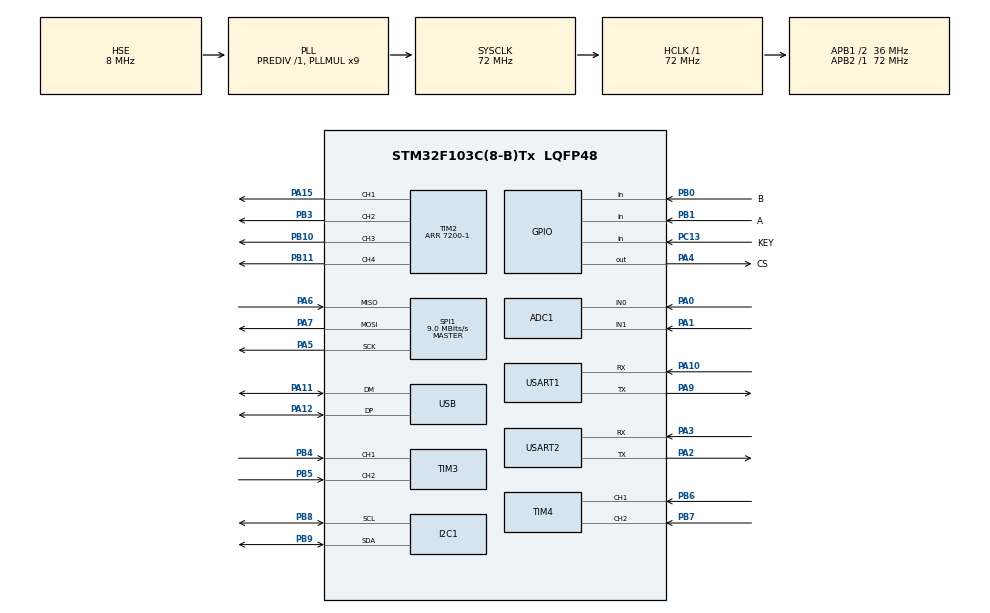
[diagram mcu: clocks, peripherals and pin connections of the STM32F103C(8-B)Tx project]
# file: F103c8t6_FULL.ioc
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ADC1.Channel-0\#ChannelRegularConversion=ADC_CHANNEL_0
ADC1.NbrOfConversionFlag=1
ADC1.Rank-0\#ChannelRegularConversion=1
ADC1.SamplingTime-0\#ChannelRegularConversion=ADC_SAMPLETIME_1CYCLE_5
ADC1.master=1
Dma.Request0=USART1_RX
Dma.Request1=USART1_TX
Dma.USART1_RX.0.Direction=DMA_PERIPH_TO_MEMORY
Dma.USART1_RX.0.Instance=DMA1_Channel5
Dma.USART1_RX.0.MemDataAlignment=DMA_MDATAALIGN_BYTE
Dma.USART1_RX.0.MemInc=DMA_MINC_ENABLE
Dma.USART1_RX.0.Mode=DMA_NORMAL
Dma.USART1_RX.0.PeriphDataAlignment=DMA_PDATAALIGN_BYTE
Dma.USART1_RX.0.PeriphInc=DMA_PINC_DISABLE
Dma.USART1_RX.0.Priority=DMA_PRIORITY_LOW
Dma.USART1_TX.1.Direction=DMA_MEMORY_TO_PERIPH
Dma.USART1_TX.1.Instance=DMA1_Channel4
Dma.USART1_TX.1.MemDataAlignment=DMA_MDATAALIGN_BYTE
Dma.USART1_TX.1.MemInc=DMA_MINC_ENABLE
Dma.USART1_TX.1.Mode=DMA_NORMAL
Dma.USART1_TX.1.PeriphDataAlignment=DMA_PDATAALIGN_BYTE
Dma.USART1_TX.1.PeriphInc=DMA_PINC_DISABLE
Dma.USART1_TX.1.Priority=DMA_PRIORITY_LOW
FREERTOS.Tasks01=ControlTask,48,1024,ControlTaskStart,Default,NULL,Dynamic,NULL,NULL;UITask,8,128,UITaskStart,Default,NULL,Dynamic,NULL,NULL
FREERTOS.configTOTAL_HEAP_SIZE=2048
Mcu.Family=STM32F1
Mcu.Name=STM32F103C(8-B)Tx
Mcu.Package=LQFP48
NVIC.DMA1_Channel4_IRQn=true\:5\:0\:false\:false\:true\:true\:false\:true\:true
NVIC.DMA1_Channel5_IRQn=true\:5\:0\:false\:false\:true\:true\:false\:true\:true
NVIC.PriorityGroup=NVIC_PRIORITYGROUP_4
NVIC.TIM1_UP_IRQn=true\:15\:0\:false\:false\:true\:false\:false\:true\:true
NVIC.TIM2_IRQn=true\:5\:0\:false\:false\:true\:true\:true\:true\:true
NVIC.TimeBase=TIM1_UP_IRQn
NVIC.TimeBaseIP=TIM1
NVIC.USART1_IRQn=true\:5\:0\:false\:false\:true\:true\:true\:true\:true
PA0-WKUP.Signal=ADCx_IN0
PA1.Signal=ADCx_IN1
PA10.Mode=Asynchronous
PA10.Signal=USART1_RX
PA11.Mode=Device
PA11.Signal=USB_DM
PA12.Mode=Device
PA12.Signal=USB_DP
PA13.Mode=Serial_Wire
PA13.Signal=SYS_JTMS-SWDIO
PA14.Mode=Serial_Wire
PA14.Signal=SYS_JTCK-SWCLK
PA15.Signal=S_TIM2_CH1_ETR
PA2.Mode=Asynchronous
PA2.Signal=USART2_TX
PA3.Mode=Asynchronous
PA3.Signal=USART2_RX
PA4.GPIO_Label=CS
PA4.Signal=GPIO_Output
PA5.Mode=Full_Duplex_Master
PA5.Signal=SPI1_SCK
PA6.Mode=Full_Duplex_Master
PA6.Signal=SPI1_MISO
PA7.Mode=Full_Duplex_Master
PA7.Signal=SPI1_MOSI
PA9.Mode=Asynchronous
PA9.Signal=USART1_TX
PB0.GPIO_Label=B
PB0.GPIO_PuPd=GPIO_PULLUP
PB0.Signal=GPIO_Input
PB1.GPIO_Label=A
PB1.GPIO_PuPd=GPIO_PULLUP
PB1.Signal=GPIO_Input
PB10.Signal=S_TIM2_CH3
PB11.Signal=S_TIM2_CH4
PB3.Signal=S_TIM2_CH2
PB4.Signal=S_TIM3_CH1
PB5.Signal=S_TIM3_CH2
PB6.Signal=S_TIM4_CH1
PB7.Signal=S_TIM4_CH2
PB8.Mode=I2C
PB8.Signal=I2C1_SCL
PB9.Mode=I2C
PB9.Signal=I2C1_SDA
PC13-TAMPER-RTC.GPIO_Label=KEY
PC13-TAMPER-RTC.GPIO_PuPd=GPIO_PULLUP
PC13-TAMPER-RTC.Signal=GPIO_Input
PC14-OSC32_IN.Mode=LSE-External-Oscillator
PC14-OSC32_IN.Signal=RCC_OSC32_IN
PC15-OSC32_OUT.Mode=LSE-External-Oscillator
PC15-OSC32_OUT.Signal=RCC_OSC32_OUT
PD0-OSC_IN.Mode=HSE-External-Oscillator
PD0-OSC_IN.Signal=RCC_OSC_IN
PD1-OSC_OUT.Mode=HSE-External-Oscillator
PD1-OSC_OUT.Signal=RCC_OSC_OUT
ProjectManager.HeapSize=0x200
ProjectManager.StackSize=0x400
ProjectManager.TargetToolchain=CMake
RCC.ADCPresc=RCC_ADCPCLK2_DIV6
RCC.AHBFreq_Value=72000000
RCC.APB1CLKDivider=RCC_HCLK_DIV2
RCC.APB1Freq_Value=36000000
RCC.APB1TimFreq_Value=72000000
RCC.APB2Freq_Value=72000000
RCC.APB2TimFreq_Value=72000000
RCC.HCLKFreq_Value=72000000
RCC.PLLMUL=RCC_PLL_MUL9
RCC.PLLSourceVirtual=RCC_PLLSOURCE_HSE
RCC.RTCClockSelection=RCC_RTCCLKSOURCE_LSE
RCC.SYSCLKFreq_VALUE=72000000
RCC.SYSCLKSource=RCC_SYSCLKSOURCE_PLLCLK
RCC.USBFreq_Value=48000000
RCC.USBPrescaler=RCC_USBCLKSOURCE_PLL_DIV1_5
SH.ADCx_IN0.0=ADC1_IN0,IN0
SH.ADCx_IN1.0=ADC1_IN1,IN1
SH.S_TIM2_CH1_ETR.0=TIM2_CH1,PWM Generation1 CH1
SH.S_TIM2_CH2.0=TIM2_CH2,PWM Generation2 CH2
SH.S_TIM2_CH3.0=TIM2_CH3,PWM Generation3 CH3
SH.S_TIM2_CH4.0=TIM2_CH4,PWM Generation4 CH4
SH.S_TIM3_CH1.0=TIM3_CH1,Encoder_Interface
SH.S_TIM3_CH2.0=TIM3_CH2,Encoder_Interface
SH.S_TIM4_CH1.0=TIM4_CH1,Encoder_Interface
SH.S_TIM4_CH2.0=TIM4_CH2,Encoder_Interface
SPI1.BaudRatePrescaler=SPI_BAUDRATEPRESCALER_8
SPI1.CalculateBaudRate=9.0 MBits/s
SPI1.Direction=SPI_DIRECTION_2LINES
SPI1.Mode=SPI_MODE_MASTER
SPI1.VirtualType=VM_MASTER
TIM2.AutoReloadPreload=TIM_AUTORELOAD_PRELOAD_ENABLE
TIM2.Channel-PWM\ Generation1\ CH1=TIM_CHANNEL_1
TIM2.Channel-PWM\ Generation2\ CH2=TIM_CHANNEL_2
TIM2.Channel-PWM\ Generation3\ CH3=TIM_CHANNEL_3
TIM2.Channel-PWM\ Generation4\ CH4=TIM_CHANNEL_4
TIM2.Period=7200-1
USART1.VirtualMode=VM_ASYNC
USART2.VirtualMode=VM_ASYNC
VP_FREERTOS_VS_CMSIS_V2.Mode=CMSIS_V2
VP_RTC_No_RTC_Output.Mode=RTC_OUT_NO
VP_RTC_VS_RTC_Activate.Mode=RTC_Enabled
VP_SYS_VS_tim1.Mode=TIM1
VP_TIM2_VS_ClockSourceINT.Mode=Internal
board=custom

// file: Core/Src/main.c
/* USER CODE BEGIN Header */
/**
  ******************************************************************************
  * @file           : main.c
  * @brief          : Main program body
  ******************************************************************************
  * @attention
  *
  * Copyright (c) 2026 STMicroelectronics.
  * All rights reserved.
  *
  * This software is licensed under terms that can be found in the LICENSE file
  * in the root directory of this software component.
  * If no LICENSE file comes with this software, it is provided AS-IS.
  *
  ******************************************************************************
  */
/* USER CODE END Header */
#include "main.h"
#include "cmsis_os.h"
#include "adc.h"
#include "dma.h"
#include "i2c.h"
#include "rtc.h"
#include "spi.h"
#include "tim.h"
#include "usart.h"
#include "usb.h"
#include "gpio.h"

/* USER CODE BEGIN Includes */

#include "balance_control.h"
#include "ICM42688.h"
#include "encoder.h"
#include "DRV4950.h"
#include "MahonyAHRS.h"

/* USER CODE END Includes */

/* USER CODE BEGIN PV */

imu_t imu ;
MahonyAHRS_t mahony ;
Encoder_t encoder ;
Motor_t motorL , motorR ;
Balance_t balance ;

/* USER CODE END PV */

void SystemClock_Config(void);
void MX_FREERTOS_Init(void);

int main(void)
{

  /* MCU Configuration--------------------------------------------------------*/

  /* Reset of all peripherals, Initializes the Flash interface and the Systick. */
  HAL_Init();

  /* Configure the system clock */
  SystemClock_Config();

  /* Initialize all configured peripherals */
  MX_GPIO_Init();
  MX_DMA_Init();
  MX_ADC1_Init();
  MX_I2C1_Init();
  MX_RTC_Init();
  MX_SPI1_Init();
  MX_TIM2_Init();
  MX_TIM3_Init();
  MX_TIM4_Init();
  MX_USART1_UART_Init();
  MX_USART2_UART_Init();
  MX_USB_PCD_Init();
  /* USER CODE BEGIN 2 */

    imu.hspi = &hspi1;
    imu.cs_port = GPIOA ;
    imu.cs_pin = GPIO_PIN_4;
    if (ICM42688_Init(&imu , 8 , 500) != HAL_OK) Error_Handler() ;

    MahonyAHRS_Init(&mahony, 2.0f, 0.05f);

    Encoder_Init(&encoder , &htim3 , &htim4) ;

    Motor_Init(&motorL ,  &htim2 , TIM_CHANNEL_1 , TIM_CHANNEL_2 , Motor_Normal) ;
    Motor_Init(&motorR ,  &htim2 , TIM_CHANNEL_4 , TIM_CHANNEL_3 , Motor_Normal);

    BalanceParam_t param = {
        .stand_kp = 0.0f, .stand_kd = 0.0f,
        .speed_kp = 0.0f, .speed_ki = 0.0f,
        .turn_kp  = 0.0f, .turn_kd  = 0.0f,
    };
    Balance_Init(&balance , &param);

  /* USER CODE END 2 */

  /* Init scheduler */
  osKernelInitialize();  /* Call init function for freertos objects (in cmsis_os2.c) */
  MX_FREERTOS_Init();

  /* Start scheduler */
  osKernelStart();

  /* We should never get here as control is now taken by the scheduler */

  /* Infinite loop */
  while (1)
  {

  }
}

void SystemClock_Config(void)
{
  RCC_OscInitTypeDef RCC_OscInitStruct = {0};
  RCC_ClkInitTypeDef RCC_ClkInitStruct = {0};
  RCC_PeriphCLKInitTypeDef PeriphClkInit = {0};

  /** Initializes the RCC Oscillators according to the specified parameters
  * in the RCC_OscInitTypeDef structure.
  */
  RCC_OscInitStruct.OscillatorType = RCC_OSCILLATORTYPE_HSE|RCC_OSCILLATORTYPE_LSE;
  RCC_OscInitStruct.HSEState = RCC_HSE_ON;
  RCC_OscInitStruct.HSEPredivValue = RCC_HSE_PREDIV_DIV1;
  RCC_OscInitStruct.LSEState = RCC_LSE_ON;
  RCC_OscInitStruct.HSIState = RCC_HSI_ON;
  RCC_OscInitStruct.PLL.PLLState = RCC_PLL_ON;
  RCC_OscInitStruct.PLL.PLLSource = RCC_PLLSOURCE_HSE;
  RCC_OscInitStruct.PLL.PLLMUL = RCC_PLL_MUL9;
  if (HAL_RCC_OscConfig(&RCC_OscInitStruct) != HAL_OK)
  {
    Error_Handler();
  }

  /** Initializes the CPU, AHB and APB buses clocks
  */
  RCC_ClkInitStruct.ClockType = RCC_CLOCKTYPE_HCLK|RCC_CLOCKTYPE_SYSCLK
                              |RCC_CLOCKTYPE_PCLK1|RCC_CLOCKTYPE_PCLK2;
  RCC_ClkInitStruct.SYSCLKSource = RCC_SYSCLKSOURCE_PLLCLK;
  RCC_ClkInitStruct.AHBCLKDivider = RCC_SYSCLK_DIV1;
  RCC_ClkInitStruct.APB1CLKDivider = RCC_HCLK_DIV2;
  RCC_ClkInitStruct.APB2CLKDivider = RCC_HCLK_DIV1;

  if (HAL_RCC_ClockConfig(&RCC_ClkInitStruct, FLASH_LATENCY_2) != HAL_OK)
  {
    Error_Handler();
  }
  PeriphClkInit.PeriphClockSelection = RCC_PERIPHCLK_RTC|RCC_PERIPHCLK_ADC
                              |RCC_PERIPHCLK_USB;
  PeriphClkInit.RTCClockSelection = RCC_RTCCLKSOURCE_LSE;
  PeriphClkInit.AdcClockSelection = RCC_ADCPCLK2_DIV6;
  PeriphClkInit.UsbClockSelection = RCC_USBCLKSOURCE_PLL_DIV1_5;
  if (HAL_RCCEx_PeriphCLKConfig(&PeriphClkInit) != HAL_OK)
  {
    Error_Handler();
  }
}

void HAL_TIM_PeriodElapsedCallback(TIM_HandleTypeDef *htim)
{
  if (htim->Instance == TIM1)
  {
    HAL_IncTick();
  }
}

void Error_Handler(void)
{
  __disable_irq();
  while (1)
  {
  }
}

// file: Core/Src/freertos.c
/* USER CODE BEGIN Header */
/**
  ******************************************************************************
  * File Name          : freertos.c
  * Description        : Code for freertos applications
  ******************************************************************************
  * @attention
  *
  * Copyright (c) 2026 STMicroelectronics.
  * All rights reserved.
  *
  * This software is licensed under terms that can be found in the LICENSE file
  * in the root directory of this software component.
  * If no LICENSE file comes with this software, it is provided AS-IS.
  *
  ******************************************************************************
  */
/* USER CODE END Header */

#include "FreeRTOS.h"
#include "task.h"
#include "main.h"
#include "cmsis_os.h"

/* USER CODE BEGIN Includes */

#include "balance_control.h"
#include "encoder.h"
#include "DRV4950.h"
#include "ICM42688.h"
#include "MahonyAHRS.h"

/* USER CODE END Includes */

/* USER CODE BEGIN Variables */

extern imu_t imu ;
extern MahonyAHRS_t mahony ;
extern Encoder_t encoder ;
extern Motor_t motorL , motorR ;
extern Balance_t balance ;

/* USER CODE END Variables */
/* Definitions for ControlTask */
osThreadId_t ControlTaskHandle;
const osThreadAttr_t ControlTask_attributes = {
  .name = "ControlTask",
  .stack_size = 1024 * 4,
  .priority = (osPriority_t) osPriorityRealtime,
};
/* Definitions for UITask */
osThreadId_t UITaskHandle;
const osThreadAttr_t UITask_attributes = {
  .name = "UITask",
  .stack_size = 128 * 4,
  .priority = (osPriority_t) osPriorityLow,
};

void ControlTaskStart(void *argument);
void UITaskStart(void *argument);

void MX_FREERTOS_Init(void); /* (MISRA C 2004 rule 8.1) */

void MX_FREERTOS_Init(void) {

  /* Create the thread(s) */
  /* creation of ControlTask */
  ControlTaskHandle = osThreadNew(ControlTaskStart, NULL, &ControlTask_attributes);

  /* creation of UITask */
  UITaskHandle = osThreadNew(UITaskStart, NULL, &UITask_attributes);

}

void ControlTaskStart(void *argument)
{
  /* USER CODE BEGIN ControlTaskStart */
  /* Infinite loop */
    uint32_t last_slow = osKernelGetTickCount();
  for(;;)
  {
      ICM42688_ReadSensorData(&imu) ;
      MahonyAHRS_Update(&mahony , imu.gyro , imu.accle , 0.001) ;
      MahonyAHRS_GetEulerAngles(&mahony , &balance.status) ;
      balance.gyro_pitch_v = imu.gyro[1];
      uint32_t now = osKernelGetTickCount();
      if (now - last_slow >= 20) {
          last_slow = now;
          Encoder_Update(&encoder) ;
          balance.speed_now_left = encoder.speed_left ;
          balance.speed_now_right = encoder.speed_right ;
          Balance_UpdateSlow(&balance) ;
      }
      Balance_UpdateFast(&balance) ;
      Motor_DutySet(&motorL , balance.left_duty) ;
      Motor_DutySet(&motorR ,balance.right_duty) ;
    osDelay(1);
  }
  /* USER CODE END ControlTaskStart */
}

void UITaskStart(void *argument)
{
  /* USER CODE BEGIN UITaskStart */
  /* Infinite loop */
  for(;;)
  {
    osDelay(20);
  }
  /* USER CODE END UITaskStart */
}
